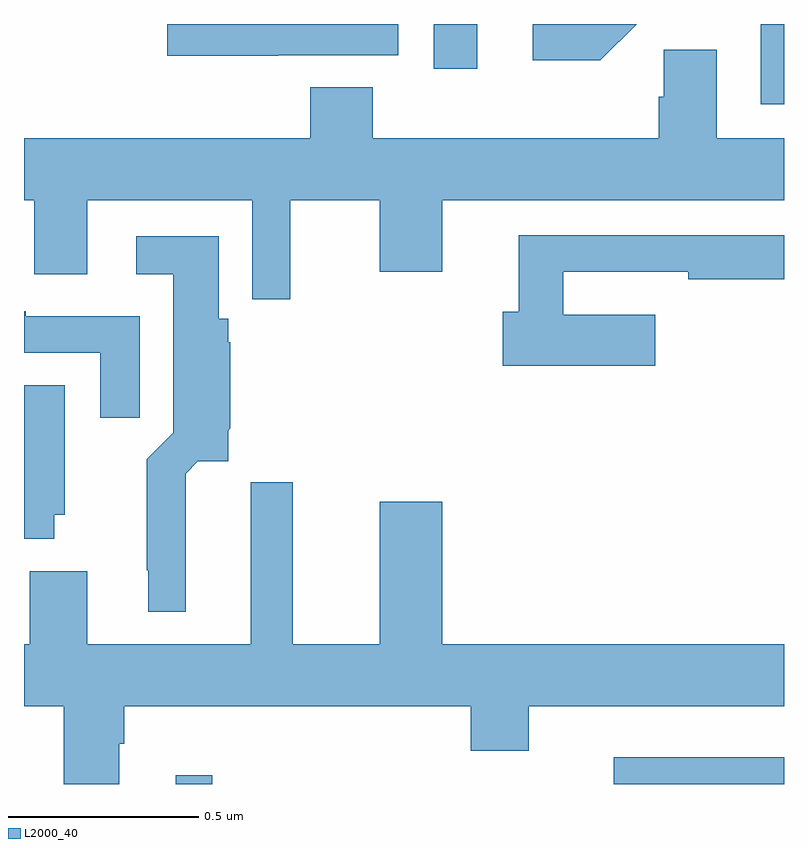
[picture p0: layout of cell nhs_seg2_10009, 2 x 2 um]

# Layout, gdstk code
import gdstk
lib = gdstk.Library(unit=1e-6, precision=1e-09)
def R(c, l, rs):  # rectangles x0, y0, x1, y1
    for r in rs: c.add(gdstk.rectangle(r[:2], r[2:], *l))
def P(c, l, *ps):  # polygons
    for p in ps: c.add(gdstk.Polygon(p, *l))
L2000_40 = (2000, 40)

nhs_seg2_10009 = lib.new_cell('nhs_seg2_10009')
R(nhs_seg2_10009, L2000_40, [(236.399,612.8,236.496,612.823), (237.939,614.589,238,614.8), (237.078,614.682,237.193,614.8)])
P(nhs_seg2_10009, L2000_40, [(237.613,614.8),(237.339,614.8),(237.339,614.705),(237.517,614.705)],
  [(236.669,614.718),(236.985,614.718),(236.985,614.8),(236.377,614.8),(236.377,614.717),(236.669,614.717)],
  [(236.7,614.336),(236.936,614.336),(236.936,614.148),(237.1,614.148),(237.1,614.336),(238,614.336),(238,614.5),(237.823,614.5),(237.823,614.732),(237.684,614.732),(237.684,614.609),(237.671,614.609),(237.671,614.5),(236.918,614.5),(236.918,614.633),(236.753,614.633),(236.753,614.5),(236,614.5),(236,614.336),(236.027,614.336),(236.027,614.142),(236.167,614.142),(236.167,614.336),(236.601,614.336),(236.601,614.076),(236.7,614.076)],
  [(237.661,614.035),(237.419,614.035),(237.419,614.148),(237.748,614.148),(237.748,614.128),(238,614.128),(238,614.244),(237.302,614.244),(237.302,614.043),(237.26,614.043),(237.26,613.901),(237.661,613.901)],
  [(236.425,613.616),(236.457,613.649),(236.537,613.649),(236.537,613.73),(236.543,613.736),(236.543,613.962),(236.537,613.962),(236.537,614.025),(236.512,614.025),(236.512,614.242),(236.295,614.242),(236.295,614.141),(236.393,614.141),(236.393,613.724),(236.323,613.654),(236.323,613.363),(236.327,613.363),(236.327,613.253),(236.425,613.253)],
  [(236.305,614.031),(236.005,614.031),(236.005,614.044),(236,614.044),(236,613.935),(236.201,613.935),(236.201,613.764),(236.305,613.764)],
  [(236.08,613.509),(236.107,613.509),(236.107,613.85),(236,613.85),(236,613.445),(236.08,613.445)],
  [(237.1,613.543),(236.936,613.543),(236.936,613.168),(236.707,613.168),(236.707,613.594),(236.597,613.594),(236.597,613.168),(236.167,613.168),(236.167,613.36),(236.015,613.36),(236.015,613.168),(236,613.168),(236,613.004),(236.104,613.004),(236.104,612.8),(236.251,612.8),(236.251,612.906),(236.264,612.906),(236.264,613.004),(237.176,613.004),(237.176,612.887),(237.328,612.887),(237.328,613.004),(238,613.004),(238,613.168),(237.1,613.168)],
  [(238,612.87),(237.92,612.87),(237.92,612.871),(237.552,612.871),(237.552,612.8),(238,612.8)])

lib.write_gds('nhs_seg2_10009.gds')
